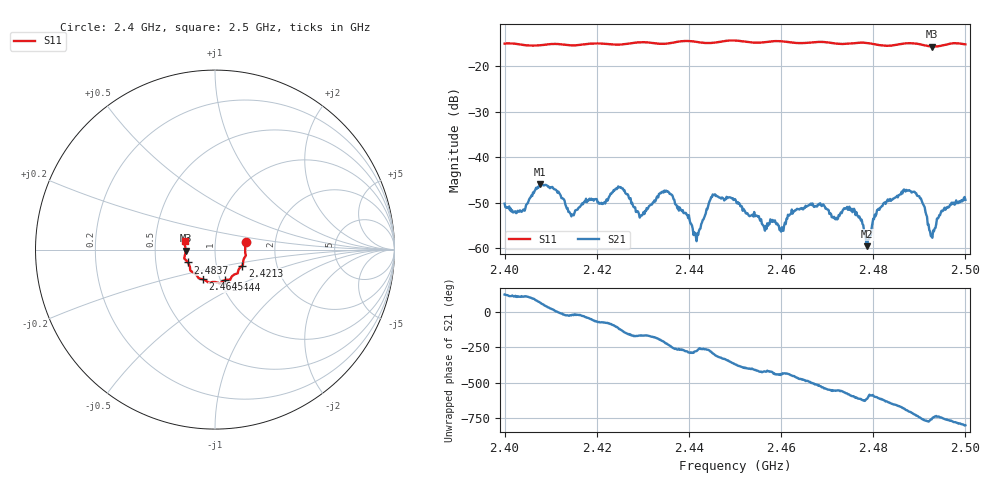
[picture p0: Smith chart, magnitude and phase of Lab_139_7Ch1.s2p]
# Hz S RI R 50
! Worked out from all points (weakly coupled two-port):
!   601 points, 2.4 GHz to 2.5 GHz, reference 50 ohm
!   highest |S21| = -45.91 dB at 2.4077 GHz (marker M1); lowest = -59.5 dB at 2.4787 GHz (marker M2)
!   lowest |S11| = -15.7 dB at 2.4928 GHz (marker M3), VSWR 1.39, Z = 36 - j0.374 ohm
!   |S11| at or under -10 dB: start of sweep to end of sweep
!   S12 and S22 are empty: the file has one direction only
!   S11 on the Smith chart (normalised r, x): 2.4 GHz: 1.41, +0.12; 2.4213 GHz: 1.33, -0.25; 2.444 GHz: 1.06, -0.37; 2.4645 GHz: 0.83, -0.29; 2.4837 GHz: 0.73, -0.11; 2.5 GHz: 0.71, +0.07
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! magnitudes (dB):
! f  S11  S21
! 2.4 GHz  -15.1  -50.2
! 2.404 GHz  -15.4  -51.5
! 2.4077 GHz  -15.4  -45.9
! 2.4167 GHz  -15.3  -50.5
! 2.4213 GHz  -15.1  -50.2
! 2.4252 GHz  -15.3  -46.6
! 2.4298 GHz  -14.8  -52.8
! 2.4333 GHz  -15.1  -48.8
! 2.436 GHz  -15.0  -48.1
! 2.4415 GHz  -14.7  -57.4
! 2.444 GHz  -15.0  -51.4
! 2.45 GHz  -14.4  -49.2
! 2.46 GHz  -14.6  -56.3
! 2.4645 GHz  -15.0  -51.2
! 2.4667 GHz  -14.8  -50.5
! 2.4753 GHz  -15.0  -51.3
! 2.4787 GHz  -15.0  -59.5
! 2.4833 GHz  -15.6  -49.6
! 2.4837 GHz  -15.5  -49.2
! 2.4893 GHz  -15.1  -47.9
! 2.4928 GHz  -15.7  -57.7
! 2.5 GHz  -15.3  -49.4
